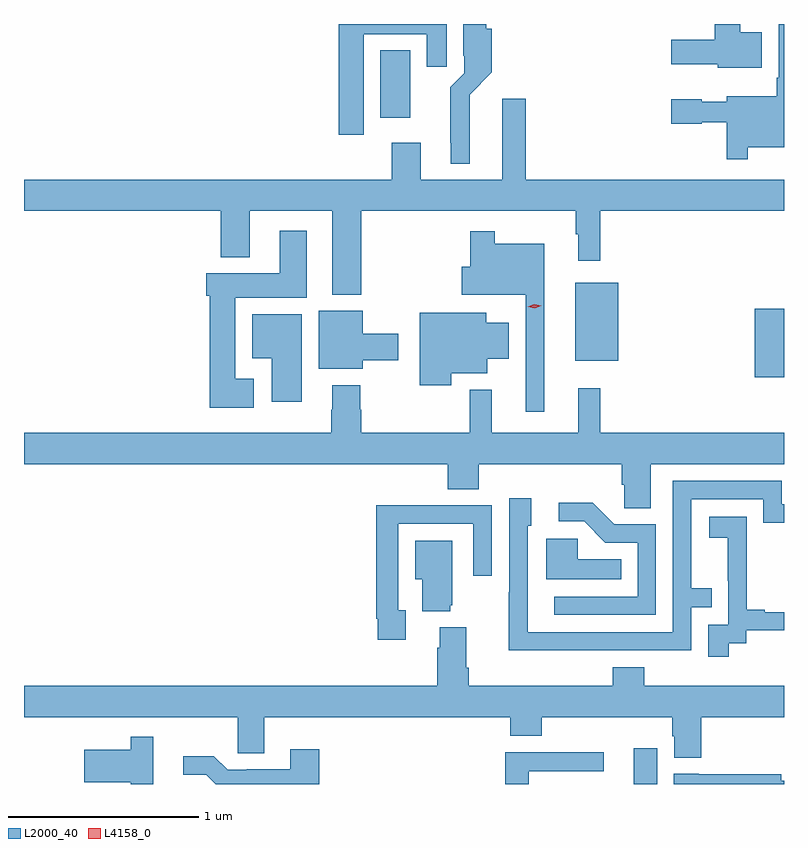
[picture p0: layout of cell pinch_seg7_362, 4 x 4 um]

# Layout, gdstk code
import gdstk
lib = gdstk.Library(unit=1e-6, precision=1e-09)
def R(c, l, rs):  # rectangles x0, y0, x1, y1
    for r in rs: c.add(gdstk.rectangle(r[:2], r[2:], *l))
def P(c, l, *ps):  # polygons
    for p in ps: c.add(gdstk.Polygon(p, *l))
L2000_40 = (2000, 40)
L4158_0 = (4158, 0)

pinch_seg7_362 = lib.new_cell('pinch_seg7_362')
R(pinch_seg7_362, L2000_40, [(434.426,1006.924,434.548,1007.113), (435.062,1009.066,435.216,1009.426), (434.117,1009.151,434.344,1009.561), (433.091,1010.43,433.249,1010.786)])
P(pinch_seg7_362, L2000_40, [(433.003,1010.871),(433.337,1010.871),(433.337,1010.7),(433.441,1010.7),(433.441,1010.924),(432.872,1010.924),(432.872,1010.34),(433.003,1010.34)],
  [(433.561,1010.552),(433.679,1010.67),(433.679,1010.898),(433.648,1010.898),(433.648,1010.924),(433.529,1010.924),(433.529,1010.758),(433.533,1010.758),(433.533,1010.664),(433.46,1010.591),(433.46,1010.299),(433.463,1010.299),(433.463,1010.189),(433.561,1010.189)],
  [(435.1,1010.881),(434.986,1010.881),(434.986,1010.924),(434.852,1010.924),(434.852,1010.841),(434.622,1010.841),(434.622,1010.711),(434.868,1010.711),(434.868,1010.693),(435.1,1010.693)],
  [(435.025,1010.276),(435.216,1010.276),(435.216,1010.924),(435.189,1010.924),(435.189,1010.641),(435.177,1010.641),(435.177,1010.545),(434.915,1010.545),(434.915,1010.515),(434.784,1010.515),(434.784,1010.527),(434.622,1010.527),(434.622,1010.398),(434.784,1010.398),(434.784,1010.406),(434.915,1010.406),(434.915,1010.211),(435.025,1010.211)],
  [(432.992,1009.94),(434.121,1009.94),(434.121,1009.817),(434.132,1009.817),(434.132,1009.677),(434.249,1009.677),(434.249,1009.94),(435.216,1009.94),(435.216,1010.104),(433.856,1010.104),(433.856,1010.53),(433.733,1010.53),(433.733,1010.104),(433.303,1010.104),(433.303,1010.299),(433.151,1010.299),(433.151,1010.104),(431.216,1010.104),(431.216,1009.94),(432.251,1009.94),(432.251,1009.697),(432.403,1009.697),(432.403,1009.94),(432.839,1009.94),(432.839,1009.499),(432.992,1009.499)],
  [(432.424,1009.057),(432.328,1009.057),(432.328,1009.484),(432.703,1009.484),(432.703,1009.837),(432.563,1009.837),(432.563,1009.612),(432.176,1009.612),(432.176,1009.494),(432.194,1009.494),(432.194,1008.905),(432.424,1008.905)],
  [(433.954,1009.768),(433.693,1009.768),(433.693,1009.834),(433.564,1009.834),(433.564,1009.647),(433.52,1009.647),(433.52,1009.499),(433.857,1009.499),(433.857,1008.882),(433.954,1008.882)],
  [(433,1009.153),(433.186,1009.153),(433.186,1009.295),(433,1009.295),(433,1009.414),(432.767,1009.414),(432.767,1009.109),(433,1009.109)],
  [(433.464,1009.085),(433.654,1009.085),(433.654,1009.163),(433.768,1009.163),(433.768,1009.351),(433.648,1009.351),(433.648,1009.405),(433.298,1009.405),(433.298,1009.023),(433.464,1009.023)],
  [(432.679,1009.396),(432.416,1009.396),(432.416,1009.166),(432.521,1009.166),(432.521,1008.936),(432.679,1008.936)],
  [(434.515,1008.608),(435.216,1008.608),(435.216,1008.772),(434.249,1008.772),(434.249,1009.006),(434.132,1009.006),(434.132,1008.772),(433.679,1008.772),(433.679,1009),(433.561,1009),(433.561,1008.772),(432.992,1008.772),(432.992,1008.893),(432.987,1008.893),(432.987,1009.024),(432.839,1009.024),(432.839,1008.893),(432.832,1008.893),(432.832,1008.772),(431.216,1008.772),(431.216,1008.608),(433.445,1008.608),(433.445,1008.475),(433.61,1008.475),(433.61,1008.608),(434.363,1008.608),(434.363,1008.499),(434.376,1008.499),(434.376,1008.376),(434.515,1008.376)],
  [(434.231,1007.628),(434.727,1007.628),(434.727,1007.853),(434.837,1007.853),(434.837,1007.954),(434.727,1007.954),(434.727,1008.423),(435.108,1008.423),(435.108,1008.3),(435.216,1008.3),(435.216,1008.396),(435.205,1008.396),(435.205,1008.519),(434.631,1008.519),(434.631,1007.724),(433.867,1007.724),(433.867,1007.957),(433.866,1007.957),(433.866,1008.282),(433.885,1008.282),(433.885,1008.427),(433.77,1008.427),(433.77,1007.933),(433.768,1007.933),(433.768,1007.627),(434.231,1007.627)],
  [(434.541,1008.291),(434.322,1008.291),(434.209,1008.404),(434.031,1008.404),(434.031,1008.306),(434.165,1008.306),(434.276,1008.195),(434.445,1008.195),(434.445,1007.91),(434.007,1007.91),(434.007,1007.814),(434.541,1007.814)],
  [(433.225,1007.838),(433.185,1007.838),(433.185,1008.294),(433.581,1008.294),(433.581,1008.021),(433.677,1008.021),(433.677,1008.39),(433.361,1008.39),(433.361,1008.392),(433.069,1008.392),(433.069,1007.794),(433.077,1007.794),(433.077,1007.682),(433.225,1007.682)],
  [(434.926,1007.665),(435.018,1007.665),(435.018,1007.733),(435.216,1007.733),(435.216,1007.829),(435.115,1007.829),(435.115,1007.842),(435.02,1007.842),(435.02,1008.125),(435.021,1008.125),(435.021,1008.331),(434.823,1008.331),(434.823,1008.221),(434.921,1008.221),(434.921,1007.993),(434.922,1007.993),(434.922,1007.763),(434.817,1007.763),(434.817,1007.595),(434.926,1007.595)],
  [(434.36,1008.106),(434.13,1008.106),(434.13,1008.214),(433.964,1008.214),(433.964,1008.002),(434.36,1008.002)],
  [(433.46,1007.865),(433.471,1007.865),(433.471,1008.205),(433.274,1008.205),(433.274,1008.002),(433.313,1008.002),(433.313,1007.834),(433.46,1007.834)],
  [(434.78,1007.276),(435.216,1007.276),(435.216,1007.44),(434.48,1007.44),(434.48,1007.539),(434.315,1007.539),(434.315,1007.44),(433.556,1007.44),(433.556,1007.536),(433.543,1007.536),(433.543,1007.749),(433.403,1007.749),(433.403,1007.642),(433.391,1007.642),(433.391,1007.44),(431.216,1007.44),(431.216,1007.276),(432.342,1007.276),(432.342,1007.086),(432.481,1007.086),(432.481,1007.276),(433.775,1007.276),(433.775,1007.177),(433.94,1007.177),(433.94,1007.276),(434.627,1007.276),(434.627,1007.175),(434.639,1007.175),(434.639,1007.063),(434.78,1007.063)],
  [(431.895,1006.95),(431.896,1006.95),(431.896,1007.173),(431.779,1007.173),(431.779,1007.104),(431.532,1007.104),(431.532,1006.934),(431.779,1006.934),(431.779,1006.924),(431.895,1006.924)],
  [(432.77,1007.107),(432.617,1007.107),(432.617,1007.001),(432.388,1007.001),(432.388,1006.998),(432.288,1006.998),(432.215,1007.071),(432.054,1007.071),(432.054,1006.974),(432.174,1006.974),(432.224,1006.924),(432.77,1006.924)],
  [(433.873,1006.992),(434.266,1006.992),(434.266,1007.09),(433.748,1007.09),(433.748,1006.924),(433.873,1006.924)],
  [(435.216,1006.941),(435.202,1006.941),(435.202,1006.975),(434.766,1006.975),(434.766,1006.978),(434.636,1006.978),(434.636,1006.924),(435.216,1006.924)])
P(pinch_seg7_362, L4158_0, [(433.903,1009.428),(433.867,1009.437),(433.867,1009.437),(433.867,1009.437),(433.902,1009.448),(433.938,1009.44),(433.938,1009.44),(433.938,1009.44)])

lib.write_gds('pinch_seg7_362.gds')
